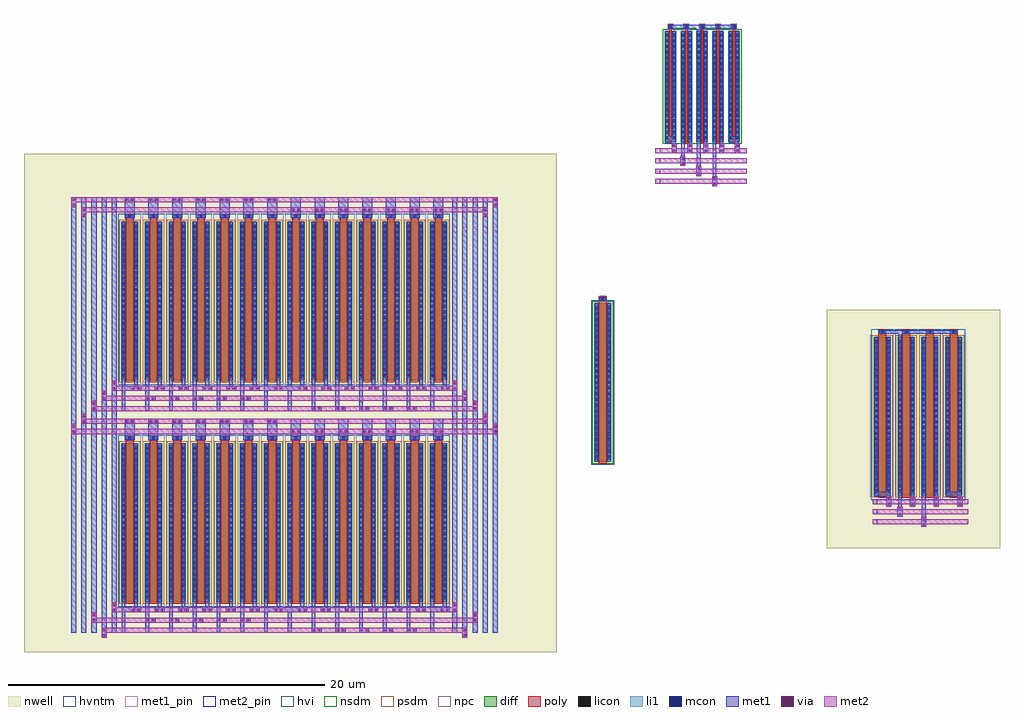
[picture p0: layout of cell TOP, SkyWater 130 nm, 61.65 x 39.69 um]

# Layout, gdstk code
from math import pi, radians
import gdstk
lib = gdstk.Library(unit=1e-6, precision=1e-09)
def R(c, l, rs):  # rectangles x0, y0, x1, y1
    for r in rs: c.add(gdstk.rectangle(r[:2], r[2:], *l))
def A(c, l, x, y, w, h, nx, ny, dx, dy):  # array of equal rectangles
    R(c, l, [(x+i*dx, y+j*dy, x+i*dx+w, y+j*dy+h) for i in range(nx) for j in range(ny)])
nwell = (64, 20)
diff = (65, 20)
poly = (66, 20)
licon = (66, 44)
li1 = (67, 20)
mcon = (67, 44)
met1_pin = (68, 16)
met1 = (68, 20)
via = (68, 44)
met2_pin = (69, 16)
met2 = (69, 20)
hvi = (75, 20)
nsdm = (93, 44)
psdm = (94, 20)
npc = (95, 20)
hvntm = (125, 20)

contact = lib.new_cell('contact')
R(contact, met1, [(-0.32,-0.16,0.32,0.16)])
R(contact, via, [(-0.235,-0.075,-0.085,0.075), (0.085,-0.075,0.235,0.075)])
R(contact, met2, [(-0.32,-0.16,0.32,0.16)])

sky130_fd_pr__nfet_01v8_ = lib.new_cell('sky130_fd_pr__nfet_01v8_4TJS7W')
R(sky130_fd_pr__nfet_01v8_, diff, [(-0.365,-3.655,0.365,3.345)])
R(sky130_fd_pr__nfet_01v8_, poly, [(-0.075,-3.785,0.075,3.455), (-0.165,3.455,0.165,3.785)])
A(sky130_fd_pr__nfet_01v8_, licon, -0.305, -3.47, 0.17, 0.17, 1, 20, 0, 0.34)
A(sky130_fd_pr__nfet_01v8_, licon, 0.135, -3.47, 0.17, 0.17, 1, 20, 0, 0.34)
R(sky130_fd_pr__nfet_01v8_, licon, [(-0.085,3.535,0.085,3.705)])
R(sky130_fd_pr__nfet_01v8_, li1, [(-0.305,-3.675,-0.135,3.365), (0.135,-3.675,0.305,3.365), (-0.165,3.535,0.165,3.705)])
A(sky130_fd_pr__nfet_01v8_, mcon, -0.305, -3.48, 0.17, 0.17, 1, 19, 0, 0.36)
A(sky130_fd_pr__nfet_01v8_, mcon, 0.135, -3.48, 0.17, 0.17, 1, 19, 0, 0.36)
R(sky130_fd_pr__nfet_01v8_, mcon, [(-0.085,3.535,0.085,3.705)])
R(sky130_fd_pr__nfet_01v8_, met1, [(0.105,-4.375,0.335,3.345), (-0.335,-3.655,-0.105,3.345), (-0.145,3.505,0.145,3.735)])
R(sky130_fd_pr__nfet_01v8_, nsdm, [(-0.49,-3.78,0.49,3.47)])
R(sky130_fd_pr__nfet_01v8_, npc, [(-0.185,3.435,0.185,3.805)])

mirror = lib.new_cell('mirror')
R(mirror, met1, [(3.62,0.27,3.85,2.99), (2.62,0.99,2.85,2.92), (1.62,1.44,1.85,2.98), (0.62,2.72,1.29,3.15), (4.62,2.72,5.29,3.15), (2.62,9.67,2.85,10.19), (0.81,9.96,5.1,10.19)])
A(mirror, met2_pin, 0, 0.16, 0.32, 0.32, 1, 4, 0, 0.64)
A(mirror, met2, 0, 0.16, 5.78, 0.32, 1, 4, 0, 0.64)
r = gdstk.Reference(contact, (5.18,2.4), rotation=pi/2); r.repetition = gdstk.Repetition(1, 5, v1=(0,0), v2=(-1,0)); mirror.add(r)
r = gdstk.Reference(contact, (1.74,1.6), rotation=pi/2); r.repetition = gdstk.Repetition(3, 1, v1=(1,-0.64), v2=(0,0)); mirror.add(r)
r = gdstk.Reference(sky130_fd_pr__nfet_01v8_, (0.955,6.455)); r.repetition = gdstk.Repetition(5, 1, v1=(1,0), v2=(0,0)); mirror.add(r)
mirror.add(gdstk.Label('GND', (0.15,2.24), layer=69, texttype=16))
mirror.add(gdstk.Label('u10', (0.12,0.96), layer=69, texttype=16))
mirror.add(gdstk.Label('u10mdiffp', (0.15,1.6), layer=69, texttype=16))
mirror.add(gdstk.Label('u10mlatch', (0.14,0.33), layer=69, texttype=16))

sky130_fd_pr__pfet_g5v0d = lib.new_cell('sky130_fd_pr__pfet_g5v0d10v5_VU6JZ7')
R(sky130_fd_pr__pfet_g5v0d, nwell, [(-0.72,-5.49,0.72,5.32)])
R(sky130_fd_pr__pfet_g5v0d, diff, [(-0.54,-5.18,0.54,4.82)])
R(sky130_fd_pr__pfet_g5v0d, poly, [(-0.25,-5.31,0.25,5.305)])
A(sky130_fd_pr__pfet_g5v0d, licon, -0.48, -5.025, 0.17, 0.17, 1, 29, 0, 0.34)
A(sky130_fd_pr__pfet_g5v0d, licon, 0.31, -5.025, 0.17, 0.17, 1, 29, 0, 0.34)
R(sky130_fd_pr__pfet_g5v0d, licon, [(-0.085,5.055,0.085,5.225)])
R(sky130_fd_pr__pfet_g5v0d, li1, [(-0.48,-5.2,-0.31,4.84), (0.31,-5.2,0.48,4.84), (-0.25,5.055,0.25,5.225)])
A(sky130_fd_pr__pfet_g5v0d, mcon, -0.48, -4.945, 0.17, 0.17, 1, 27, 0, 0.36)
A(sky130_fd_pr__pfet_g5v0d, mcon, 0.31, -4.945, 0.17, 0.17, 1, 27, 0, 0.36)
R(sky130_fd_pr__pfet_g5v0d, mcon, [(-0.085,5.055,0.085,5.225)])
R(sky130_fd_pr__pfet_g5v0d, met1, [(-0.51,-7.14,-0.28,4.82), (0.28,-5.86,0.51,4.82), (-0.33,5.025,0.31,6.37)])
R(sky130_fd_pr__pfet_g5v0d, hvi, [(-0.72,-5.49,0.72,-5.365), (-0.725,-5.365,0.725,5.005), (-0.72,5.005,0.72,5.32)])
R(sky130_fd_pr__pfet_g5v0d, psdm, [(-0.665,-5.305,0.665,4.945)])
R(sky130_fd_pr__pfet_g5v0d, npc, [(-0.185,4.955,0.185,5.325)])

diffpair = lib.new_cell('diffpair')
R(diffpair, nwell, [(0,0,33.66,31.47)])
A(diffpair, met1_pin, 27.05, 26.54, 0.32, 0.32, 5, 1, 0.64, 0)
A(diffpair, met1, 2.98, 1.23, 0.32, 27.51, 5, 1, 0.64, 0)
A(diffpair, met1, 27.05, 1.23, 0.32, 27.51, 5, 1, 0.64, 0)
R(diffpair, met1, [(6.17,2.51,7.19,2.83), (15.17,2.51,17.69,2.83), (25.67,2.51,26.69,2.83), (6.17,16.51,7.19,16.83), (15.17,16.51,17.69,16.83), (25.67,16.51,26.69,16.83)])
R(diffpair, met2, [(4.9,1.23,28.01,1.55), (4.26,1.87,28.65,2.19), (5.54,2.51,27.37,2.83), (2.98,13.78,29.93,14.1), (3.62,14.42,29.29,14.74), (4.26,15.23,28.65,15.55), (4.9,15.87,28.01,16.19), (5.54,16.51,27.37,16.83), (3.62,27.78,29.29,28.1), (2.98,28.42,29.93,28.74)])
diffpair.add(gdstk.Reference(contact, (27.21,16.83), rotation=pi/2))
diffpair.add(gdstk.Reference(contact, (27.85,16.19), rotation=pi/2))
diffpair.add(gdstk.Reference(contact, (28.49,15.55), rotation=pi/2))
diffpair.add(gdstk.Reference(contact, (5.7,16.83), rotation=pi/2))
diffpair.add(gdstk.Reference(contact, (5.06,16.19), rotation=pi/2))
diffpair.add(gdstk.Reference(contact, (4.42,15.55), rotation=pi/2))
diffpair.add(gdstk.Reference(contact, (27.85,1.23), rotation=pi/2))
diffpair.add(gdstk.Reference(contact, (28.49,2.19), rotation=pi/2))
diffpair.add(gdstk.Reference(contact, (27.21,2.83), rotation=pi/2))
diffpair.add(gdstk.Reference(contact, (5.06,1.23), rotation=pi/2))
diffpair.add(gdstk.Reference(contact, (4.42,2.19), rotation=pi/2))
diffpair.add(gdstk.Reference(contact, (5.7,2.83), rotation=pi/2))
diffpair.add(gdstk.Reference(contact, (29.77,14.1), rotation=pi/2))
diffpair.add(gdstk.Reference(contact, (29.13,14.74), rotation=pi/2))
diffpair.add(gdstk.Reference(contact, (3.78,14.74), rotation=pi/2))
diffpair.add(gdstk.Reference(contact, (3.14,14.1), rotation=pi/2))
diffpair.add(gdstk.Reference(contact, (29.13,27.78), rotation=pi/2))
diffpair.add(gdstk.Reference(contact, (29.77,28.42), rotation=pi/2))
diffpair.add(gdstk.Reference(contact, (3.78,27.78), rotation=pi/2))
r = gdstk.Reference(contact, (6.67,28.58)); r.repetition = gdstk.Repetition(7, 1, v1=(1.5,0), v2=(0,0)); diffpair.add(r)
diffpair.add(gdstk.Reference(contact, (3.14,28.42), rotation=pi/2))
r = gdstk.Reference(contact, (18.49,15.39)); r.repetition = gdstk.Repetition(5, 1, v1=(1.5,0), v2=(0,0)); diffpair.add(r)
r = gdstk.Reference(contact, (18.49,1.39)); r.repetition = gdstk.Repetition(5, 1, v1=(1.5,0), v2=(0,0)); diffpair.add(r)
r = gdstk.Reference(contact, (7.99,2.03)); r.repetition = gdstk.Repetition(5, 1, v1=(1.5,0), v2=(0,0)); diffpair.add(r)
r = gdstk.Reference(contact, (7.07,2.67)); r.repetition = gdstk.Repetition(14, 1, v1=(1.5,0), v2=(0,0)); diffpair.add(r)
r = gdstk.Reference(contact, (7.08,16.67)); r.repetition = gdstk.Repetition(14, 1, v1=(1.5,0), v2=(0,0)); diffpair.add(r)
r = gdstk.Reference(contact, (7.99,16.03)); r.repetition = gdstk.Repetition(5, 1, v1=(1.5,0), v2=(0,0)); diffpair.add(r)
r = gdstk.Reference(contact, (17.17,27.94)); r.repetition = gdstk.Repetition(7, 1, v1=(1.5,0), v2=(0,0)); diffpair.add(r)
r = gdstk.Reference(contact, (6.67,14.58)); r.repetition = gdstk.Repetition(7, 1, v1=(1.5,0), v2=(0,0)); diffpair.add(r)
r = gdstk.Reference(contact, (17.17,13.94)); r.repetition = gdstk.Repetition(7, 1, v1=(1.5,0), v2=(0,0)); diffpair.add(r)
r = gdstk.Reference(sky130_fd_pr__pfet_g5v0d, (6.68,8.37)); r.repetition = gdstk.Repetition(14, 2, v1=(1.5,0), v2=(0,14)); diffpair.add(r)
diffpair.add(gdstk.Label('VDD_IO', (31.49,30.29), layer=64, texttype=5))
diffpair.add(gdstk.Label('cm', (27.22,26.71), layer=68, texttype=16))
diffpair.add(gdstk.Label('bufneg', (27.81,26.69), layer=68, texttype=16))
diffpair.add(gdstk.Label('bufpos', (28.5,26.7), layer=68, texttype=16))
diffpair.add(gdstk.Label('v+', (29.13,26.68), layer=68, texttype=16))
diffpair.add(gdstk.Label('v-', (29.77,26.71), layer=68, texttype=16))

c_sky130_fd_pr__pfet_g5v0d = lib.new_cell('sky130_fd_pr__pfet_g5v0d10v5_VU6JZ7$1')
R(c_sky130_fd_pr__pfet_g5v0d, nwell, [(-0.72,-5.49,0.72,5.32)])
R(c_sky130_fd_pr__pfet_g5v0d, diff, [(-0.54,-5.18,0.54,4.82)])
R(c_sky130_fd_pr__pfet_g5v0d, poly, [(-0.25,-5.31,0.25,5.305)])
A(c_sky130_fd_pr__pfet_g5v0d, licon, -0.48, -5.025, 0.17, 0.17, 1, 29, 0, 0.34)
A(c_sky130_fd_pr__pfet_g5v0d, licon, 0.31, -5.025, 0.17, 0.17, 1, 29, 0, 0.34)
R(c_sky130_fd_pr__pfet_g5v0d, licon, [(-0.085,5.055,0.085,5.225)])
R(c_sky130_fd_pr__pfet_g5v0d, li1, [(-0.48,-5.2,-0.31,4.84), (0.31,-5.2,0.48,4.84), (-0.25,5.055,0.25,5.225)])
A(c_sky130_fd_pr__pfet_g5v0d, mcon, -0.48, -4.945, 0.17, 0.17, 1, 27, 0, 0.36)
A(c_sky130_fd_pr__pfet_g5v0d, mcon, 0.31, -4.945, 0.17, 0.17, 1, 27, 0, 0.36)
R(c_sky130_fd_pr__pfet_g5v0d, mcon, [(-0.085,5.055,0.085,5.225)])
R(c_sky130_fd_pr__pfet_g5v0d, met1, [(0.28,-5.66,0.51,4.82), (-0.51,-5.18,-0.28,4.82), (-0.23,5.02,0.23,5.26)])
R(c_sky130_fd_pr__pfet_g5v0d, hvi, [(-0.72,-5.49,0.72,-5.365), (-0.725,-5.365,0.725,5.005), (-0.72,5.005,0.72,5.32)])
R(c_sky130_fd_pr__pfet_g5v0d, psdm, [(-0.665,-5.305,0.665,4.945)])
R(c_sky130_fd_pr__pfet_g5v0d, npc, [(-0.185,4.955,0.185,5.325)])

pmirror = lib.new_cell('pmirror')
R(pmirror, nwell, [(-2.79,-1.35,8.15,13.73)])
R(pmirror, met1, [(3.215,0.47,3.445,2.22), (1.715,1,1.945,2.15), (0.215,1.92,1.235,2.22), (4.715,1.92,5.735,2.22), (1.715,11.78,1.945,12.37), (0.495,12.19,5.455,12.43)])
A(pmirror, met2_pin, 0.12, 0.16, 0.28, 0.32, 1, 3, 0, 0.64)
A(pmirror, met2, 0.115, 0.16, 6.02, 0.32, 1, 3, 0, 0.64)
r = gdstk.Reference(contact, (5.625,1.6), rotation=pi/2); r.repetition = gdstk.Repetition(1, 4, v1=(0,0), v2=(-1.5,0)); pmirror.add(r)
r = gdstk.Reference(contact, (1.835,0.96), rotation=pi/2); r.repetition = gdstk.Repetition(1, 2, v1=(0,0), v2=(1.5,-0.64)); pmirror.add(r)
r = gdstk.Reference(c_sky130_fd_pr__pfet_g5v0d, (0.725,7.17)); r.repetition = gdstk.Repetition(4, 1, v1=(1.5,0), v2=(0,0)); pmirror.add(r)
pmirror.add(gdstk.Label('VDD_IO', (-1.93,12.56), layer=64, texttype=5))
pmirror.add(gdstk.Label('VDD_IO', (0.24,1.59), layer=69, texttype=16))
pmirror.add(gdstk.Label('u10_cascoded', (0.25,0.98), layer=69, texttype=16))
pmirror.add(gdstk.Label('u10_tail', (0.27,0.31), layer=69, texttype=16))

sky130_fd_pr__nfet_g5v0d = lib.new_cell('sky130_fd_pr__nfet_g5v0d10v5_TAU43L')
R(sky130_fd_pr__nfet_g5v0d, diff, [(-0.54,-5.155,0.54,4.845)])
R(sky130_fd_pr__nfet_g5v0d, poly, [(-0.25,-5.285,0.25,5.285)])
A(sky130_fd_pr__nfet_g5v0d, licon, -0.48, -5, 0.17, 0.17, 1, 29, 0, 0.34)
A(sky130_fd_pr__nfet_g5v0d, licon, 0.31, -5, 0.17, 0.17, 1, 29, 0, 0.34)
R(sky130_fd_pr__nfet_g5v0d, licon, [(-0.085,5.035,0.085,5.205)])
R(sky130_fd_pr__nfet_g5v0d, li1, [(-0.48,-5.175,-0.31,4.865), (0.31,-5.175,0.48,4.865), (-0.25,5.035,0.25,5.205)])
A(sky130_fd_pr__nfet_g5v0d, mcon, -0.48, -4.92, 0.17, 0.17, 1, 27, 0, 0.36)
A(sky130_fd_pr__nfet_g5v0d, mcon, 0.31, -4.92, 0.17, 0.17, 1, 27, 0, 0.36)
R(sky130_fd_pr__nfet_g5v0d, mcon, [(-0.085,5.035,0.085,5.205)])
R(sky130_fd_pr__nfet_g5v0d, met1, [(-0.51,-5.155,-0.28,4.845), (0.28,-5.155,0.51,4.845), (-0.23,5.005,0.23,5.235)])
R(sky130_fd_pr__nfet_g5v0d, hvi, [(-0.725,-5.34,0.725,5.03)])
R(sky130_fd_pr__nfet_g5v0d, nsdm, [(-0.665,-5.28,0.665,4.97)])
R(sky130_fd_pr__nfet_g5v0d, npc, [(-0.185,4.935,0.185,5.305)])
R(sky130_fd_pr__nfet_g5v0d, hvntm, [(-0.725,-5.34,0.725,5.03)])

top = lib.new_cell('TOP')
top.add(gdstk.Reference(mirror, (29.31,14.9)))
top.add(gdstk.Reference(diffpair, (-10.57,-14.53)))
top.add(gdstk.Reference(pmirror, (42.925,-6.62)))
top.add(gdstk.Reference(sky130_fd_pr__nfet_g5v0d, (25.98,2.665)))

lib.write_gds('TOP.gds')
